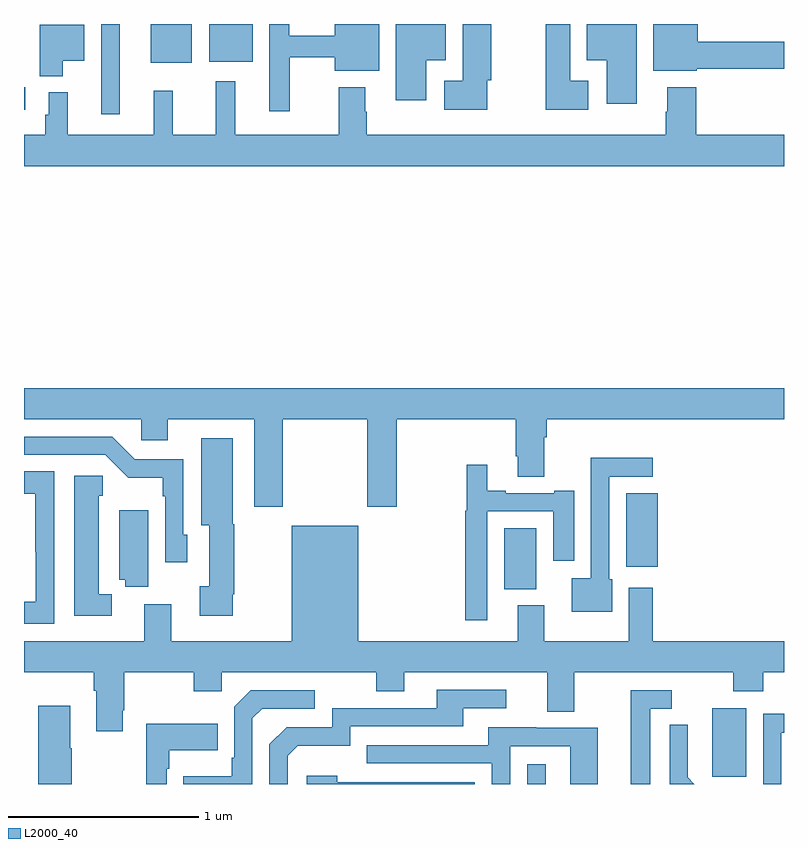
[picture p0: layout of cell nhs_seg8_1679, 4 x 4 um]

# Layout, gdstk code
import gdstk
lib = gdstk.Library(unit=1e-6, precision=1e-09)
def R(c, l, rs):  # rectangles x0, y0, x1, y1
    for r in rs: c.add(gdstk.rectangle(r[:2], r[2:], *l))
def P(c, l, *ps):  # polygons
    for p in ps: c.add(gdstk.Polygon(p, *l))
L2000_40 = (2000, 40)

nhs_seg8_1679 = lib.new_cell('nhs_seg8_1679')
R(nhs_seg8_1679, L2000_40, [(219.648,1127.9,219.745,1128.004), (220.622,1127.937,220.801,1128.298), (219.527,1128.926,219.697,1129.246), (220.169,1129.043,220.336,1129.429), (217.407,1131.426,217.504,1131.9), (217,1131.449,217.006,1131.567), (217.667,1131.695,217.882,1131.9), (217.976,1131.701,218.203,1131.9)])
P(nhs_seg8_1679, L2000_40, [(220.542,1131.664),(221,1131.664),(221,1131.806),(220.546,1131.806),(220.546,1131.9),(220.313,1131.9),(220.313,1131.653),(220.542,1131.653)],
  [(219.438,1131.603),(219.459,1131.603),(219.459,1131.9),(219.308,1131.9),(219.308,1131.601),(219.213,1131.601),(219.213,1131.449),(219.438,1131.449)],
  [(219.97,1131.601),(219.874,1131.601),(219.874,1131.9),(219.745,1131.9),(219.745,1131.449),(219.97,1131.449)],
  [(220.225,1131.9),(219.962,1131.9),(219.962,1131.71),(220.067,1131.71),(220.067,1131.48),(220.225,1131.48)],
  [(219.118,1131.71),(219.22,1131.71),(219.22,1131.9),(218.957,1131.9),(218.957,1131.498),(219.118,1131.498)],
  [(218.398,1131.726),(218.636,1131.726),(218.636,1131.653),(218.869,1131.653),(218.869,1131.9),(218.636,1131.9),(218.636,1131.839),(218.395,1131.839),(218.395,1131.9),(218.291,1131.9),(218.291,1131.441),(218.398,1131.441)],
  [(217.204,1131.707),(217.318,1131.707),(217.318,1131.895),(217.082,1131.895),(217.082,1131.626),(217.204,1131.626)],
  [(221,1131.316),(220.538,1131.316),(220.538,1131.568),(220.385,1131.568),(220.385,1131.437),(220.378,1131.437),(220.378,1131.316),(218.805,1131.316),(218.805,1131.437),(218.797,1131.437),(218.797,1131.568),(218.657,1131.568),(218.657,1131.316),(218.113,1131.316),(218.113,1131.598),(218.009,1131.598),(218.009,1131.316),(217.782,1131.316),(217.782,1131.55),(217.682,1131.55),(217.682,1131.316),(217.229,1131.316),(217.229,1131.541),(217.131,1131.541),(217.131,1131.423),(217.111,1131.423),(217.111,1131.316),(217,1131.316),(217,1131.152),(221,1131.152)],
  [(218.361,1129.82),(218.806,1129.82),(218.806,1129.359),(218.961,1129.359),(218.961,1129.82),(219.587,1129.82),(219.587,1129.624),(219.599,1129.624),(219.599,1129.516),(219.739,1129.516),(219.739,1129.724),(219.752,1129.724),(219.752,1129.82),(221,1129.82),(221,1129.984),(217,1129.984),(217,1129.82),(217.617,1129.82),(217.617,1129.71),(217.756,1129.71),(217.756,1129.82),(218.213,1129.82),(218.213,1129.359),(218.361,1129.359)],
  [(217.86,1129.212),(217.839,1129.212),(217.839,1129.608),(217.584,1129.608),(217.464,1129.728),(217,1129.728),(217,1129.632),(217.428,1129.632),(217.549,1129.511),(217.731,1129.511),(217.731,1129.415),(217.743,1129.415),(217.743,1129.068),(217.86,1129.068)],
  [(218.098,1128.898),(218.106,1128.898),(218.106,1129.266),(218.098,1129.266),(218.098,1129.72),(217.934,1129.72),(217.934,1129.262),(217.976,1129.262),(217.976,1128.942),(217.926,1128.942),(217.926,1128.786),(218.098,1128.786)],
  [(220.096,1128.978),(220.08,1128.978),(220.08,1129.518),(220.309,1129.518),(220.309,1129.616),(219.984,1129.616),(219.984,1128.982),(219.884,1128.982),(219.884,1128.806),(220.096,1128.806)],
  [(219.438,1129.335),(219.785,1129.335),(219.785,1129.074),(219.895,1129.074),(219.895,1129.444),(219.791,1129.444),(219.791,1129.431),(219.535,1129.431),(219.535,1129.444),(219.439,1129.444),(219.439,1129.579),(219.33,1129.579),(219.33,1129.338),(219.322,1129.338),(219.322,1128.762),(219.438,1128.762)],
  [(217.158,1129.547),(217,1129.547),(217,1129.427),(217.06,1129.427),(217.06,1129.123),(217.061,1129.123),(217.061,1128.86),(217,1128.86),(217,1128.744),(217.158,1128.744)],
  [(217.462,1128.9),(217.393,1128.9),(217.393,1129.416),(217.415,1129.416),(217.415,1129.522),(217.265,1129.522),(217.265,1128.785),(217.462,1128.785)],
  [(217.654,1129.342),(217.502,1129.342),(217.502,1128.974),(217.534,1128.974),(217.534,1128.937),(217.654,1128.937)],
  [(217.519,1128.289),(217.527,1128.289),(217.527,1128.488),(217.894,1128.488),(217.894,1128.389),(218.04,1128.389),(218.04,1128.488),(218.854,1128.488),(218.854,1128.389),(219.001,1128.389),(219.001,1128.488),(219.755,1128.488),(219.755,1128.28),(219.895,1128.28),(219.895,1128.488),(220.732,1128.488),(220.732,1128.389),(220.892,1128.389),(220.892,1128.488),(221,1128.488),(221,1128.652),(220.31,1128.652),(220.31,1128.934),(220.184,1128.934),(220.184,1128.652),(219.739,1128.652),(219.739,1128.841),(219.599,1128.841),(219.599,1128.652),(218.758,1128.652),(218.758,1129.258),(218.408,1129.258),(218.408,1128.652),(217.774,1128.652),(217.774,1128.847),(217.634,1128.847),(217.634,1128.652),(217,1128.652),(217,1128.488),(217.367,1128.488),(217.367,1128.392),(217.379,1128.392),(217.379,1128.177),(217.519,1128.177)],
  [(218.388,1128.048),(218.441,1128.101),(218.718,1128.101),(218.718,1128.204),(219.313,1128.204),(219.313,1128.3),(219.538,1128.3),(219.538,1128.396),(219.173,1128.396),(219.173,1128.3),(218.622,1128.3),(218.622,1128.198),(218.382,1128.198),(218.292,1128.108),(218.292,1127.9),(218.388,1127.9)],
  [(218.202,1128.246),(218.253,1128.297),(218.53,1128.297),(218.53,1128.393),(218.193,1128.393),(218.106,1128.306),(218.106,1128.037),(218.094,1128.037),(218.094,1127.941),(217.837,1127.941),(217.837,1127.9),(218.202,1127.9)],
  [(220.297,1128.297),(220.408,1128.297),(220.408,1128.393),(220.193,1128.393),(220.193,1127.9),(220.297,1127.9)],
  [(217.251,1128.089),(217.243,1128.089),(217.243,1128.313),(217.076,1128.313),(217.076,1127.9),(217.251,1127.9)],
  [(220.986,1128.171),(221,1128.171),(221,1128.27),(220.89,1128.27),(220.89,1127.9),(220.986,1127.9)],
  [(217.752,1127.981),(217.765,1127.981),(217.765,1128.077),(218.021,1128.077),(218.021,1128.217),(217.644,1128.217),(217.644,1127.9),(217.752,1127.9)],
  [(220.493,1127.936),(220.493,1128.058),(220.494,1128.058),(220.494,1128.212),(220.398,1128.212),(220.398,1127.9),(220.528,1127.9)],
  [(219.558,1128.099),(219.876,1128.099),(219.876,1127.9),(220.021,1127.9),(220.021,1128.195),(219.697,1128.195),(219.697,1128.199),(219.443,1128.199),(219.443,1128.105),(218.803,1128.105),(218.803,1128.009),(219.462,1128.009),(219.462,1127.9),(219.558,1127.9)],
  [(219.372,1127.91),(218.648,1127.91),(218.648,1127.944),(218.487,1127.944),(218.487,1127.9),(219.372,1127.9)])

lib.write_gds('nhs_seg8_1679.gds')
